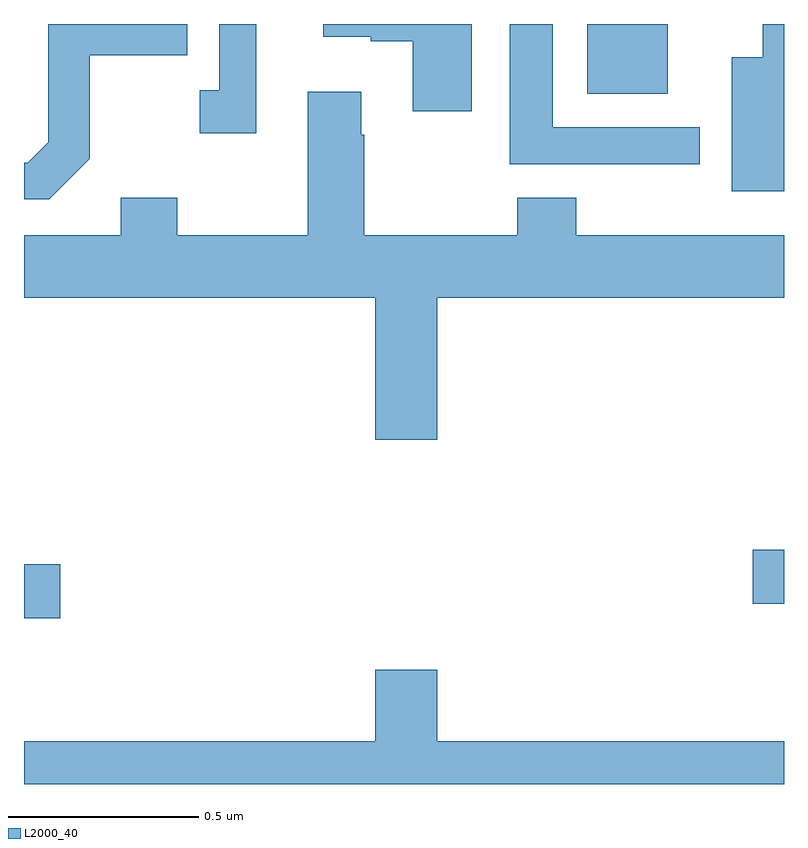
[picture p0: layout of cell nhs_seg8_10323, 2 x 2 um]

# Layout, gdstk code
import gdstk
lib = gdstk.Library(unit=1e-6, precision=1e-09)
def R(c, l, rs):  # rectangles x0, y0, x1, y1
    for r in rs: c.add(gdstk.rectangle(r[:2], r[2:], *l))
def P(c, l, *ps):  # polygons
    for p in ps: c.add(gdstk.Polygon(p, *l))
L2000_40 = (2000, 40)

nhs_seg8_10323 = lib.new_cell('nhs_seg8_10323')
R(nhs_seg8_10323, L2000_40, [(248,1102.336,248.095,1102.478), (249.918,1102.375,250,1102.517), (249.482,1103.717,249.694,1103.9)])
P(nhs_seg8_10323, L2000_40, [(248.173,1103.545),(248.173,1103.818),(248.429,1103.818),(248.429,1103.9),(248.064,1103.9),(248.064,1103.589),(248.01,1103.535),(248,1103.535),(248,1103.439),(248.067,1103.439)],
  [(250,1103.9),(249.944,1103.9),(249.944,1103.812),(249.863,1103.812),(249.863,1103.46),(250,1103.46)],
  [(249.178,1103.9),(248.787,1103.9),(248.787,1103.867),(248.913,1103.867),(248.913,1103.855),(249.023,1103.855),(249.023,1103.67),(249.178,1103.67)],
  [(249.778,1103.628),(249.391,1103.628),(249.391,1103.9),(249.278,1103.9),(249.278,1103.531),(249.778,1103.531)],
  [(248.611,1103.9),(248.514,1103.9),(248.514,1103.726),(248.463,1103.726),(248.463,1103.613),(248.611,1103.613)],
  [(249.088,1103.18),(250,1103.18),(250,1103.344),(249.453,1103.344),(249.453,1103.443),(249.298,1103.443),(249.298,1103.344),(248.895,1103.344),(248.895,1103.609),(248.887,1103.609),(248.887,1103.722),(248.747,1103.722),(248.747,1103.344),(248.403,1103.344),(248.403,1103.443),(248.255,1103.443),(248.255,1103.344),(248,1103.344),(248,1103.18),(248.924,1103.18),(248.924,1102.806),(249.088,1102.806)],
  [(250,1102.012),(249.088,1102.012),(249.088,1102.201),(248.924,1102.201),(248.924,1102.012),(248,1102.012),(248,1101.9),(250,1101.9)])

lib.write_gds('nhs_seg8_10323.gds')
